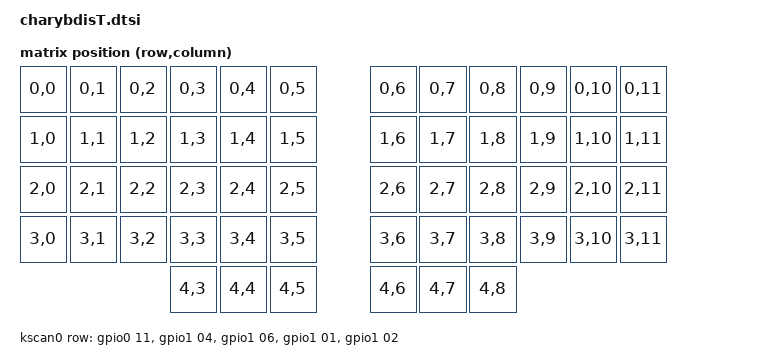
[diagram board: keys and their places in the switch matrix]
/*
 * Copyright (c) 2020 The ZMK Contributors
 *
 * SPDX-License-Identifier: MIT
 */

 #include <dt-bindings/zmk/matrix_transform.h>
 #include <input/processors.dtsi>
 #include <dt-bindings/zmk/input_transform.h>
 &pinctrl {
    i2c0_default: i2c0_default {
        group1 {
            psels = <NRF_PSEL(TWIM_SDA, 0, 24)>,
                <NRF_PSEL(TWIM_SCL, 0, 22)>;
        };
    };

    i2c0_sleep: i2c0_sleep {
        group1 {
            psels = <NRF_PSEL(TWIM_SDA, 0, 24)>,
                <NRF_PSEL(TWIM_SCL, 0, 22)>;
            low-power-enable;
        };
    };
};

#include <dt-bindings/led/led.h>

&pinctrl {
    spi3_default: spi3_default {
        group1 {
            psels = <NRF_PSEL(SPIM_MOSI, 1, 0)>;
        };
    };

    spi3_sleep: spi3_sleep {
        group1 {
            psels = <NRF_PSEL(SPIM_MOSI, 1, 0)>;
            low-power-enable;
        };
    };
};

&spi3 {
    compatible = "nordic,nrf-spim";
    status = "okay";

    pinctrl-0 = <&spi3_default>;
    pinctrl-1 = <&spi3_sleep>;
    pinctrl-names = "default", "sleep";

    led_strip: ws2812@0 {
        compatible = "worldsemi,ws2812-spi";

        /* SPI */
        reg = <0>; /* ignored, but necessary for SPI bindings */
        spi-max-frequency = <4000000>;

        /* WS2812 */
        chain-length = <18>; /* number of LEDs */
        spi-one-frame = <0x70>;
        spi-zero-frame = <0x40>;
        color-mapping = <LED_COLOR_ID_GREEN
                         LED_COLOR_ID_RED
                         LED_COLOR_ID_BLUE>;
    };
};

 / {
     chosen {
         zmk,underglow = &led_strip;
         zephyr,display = &oled;
         zmk,kscan = &kscan0;
         zmk,matrix-transform = &default_transform;
     };
     kscan0: kscan0 {
         compatible = "zmk,kscan-gpio-matrix";
         diode-direction = "col2row";
         wakeup-source;

         row-gpios
             = <&gpio0 11 (GPIO_ACTIVE_HIGH | GPIO_PULL_DOWN)>
             , <&gpio1 04 (GPIO_ACTIVE_HIGH | GPIO_PULL_DOWN)>
             , <&gpio1 06 (GPIO_ACTIVE_HIGH | GPIO_PULL_DOWN)>
             , <&gpio1 01 (GPIO_ACTIVE_HIGH | GPIO_PULL_DOWN)>
             , <&gpio1 02 (GPIO_ACTIVE_HIGH | GPIO_PULL_DOWN)>
             ;
     };
 
     default_transform: keymap_transform0 {
         compatible = "zmk,matrix-transform";
         columns = <12>; // Length of the "col-gpios" array
         rows = <5>; // Length of the "row-gpios" array
         map = <
             RC(0,0) RC(0,1) RC(0,2) RC(0,3) RC(0,4) RC(0,5) RC(0,6) RC(0,7) RC(0,8) RC(0,9) RC(0,10) RC(0,11)
             RC(1,0) RC(1,1) RC(1,2) RC(1,3) RC(1,4) RC(1,5) RC(1,6) RC(1,7) RC(1,8) RC(1,9) RC(1,10) RC(1,11)
             RC(2,0) RC(2,1) RC(2,2) RC(2,3) RC(2,4) RC(2,5) RC(2,6) RC(2,7) RC(2,8) RC(2,9) RC(2,10) RC(2,11)
             RC(3,0) RC(3,1) RC(3,2) RC(3,3) RC(3,4) RC(3,5) RC(3,6) RC(3,7) RC(3,8) RC(3,9) RC(3,10) RC(3,11)
                                     RC(4,3) RC(4,4) RC(4,5) RC(4,6) RC(4,7) RC(4,8)
         >;
     };
    //left hand trackball
    split_inputs {
        status = "okay";
        #address-cells = <1>;
        #size-cells = <0>;

        trackball_split_0: trackball_split_0@0 {
            status = "okay";
            compatible = "zmk,input-split";
            reg = <0>;
        };
    };

    trackball_peripheral_listener: trackball_peripheral_listener {
        compatible = "zmk,input-listener";
        status = "disabled";
        device = <&trackball_split_0>;
    };
    //right hand trackball
    trackball_central_listener: trackball_central_listener {
        compatible = "zmk,input-listener";
        status = "disabled";
    };
 };
 &pro_micro_i2c {
    status = "okay";

    oled: ssd1306@3c {
        compatible = "solomon,ssd1306fb";
        reg = <0x3c>;
        width = <128>;
        height = <64>;
        segment-offset = <0>;
        page-offset = <0>;
        display-offset = <0>;
        multiplex-ratio = <31>;
        segment-remap;
        com-invdir;
        com-sequential;
        prechargep = <0x22>;
    };
};
 zephyr_udc0: &usbd {
    status = "okay";
};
